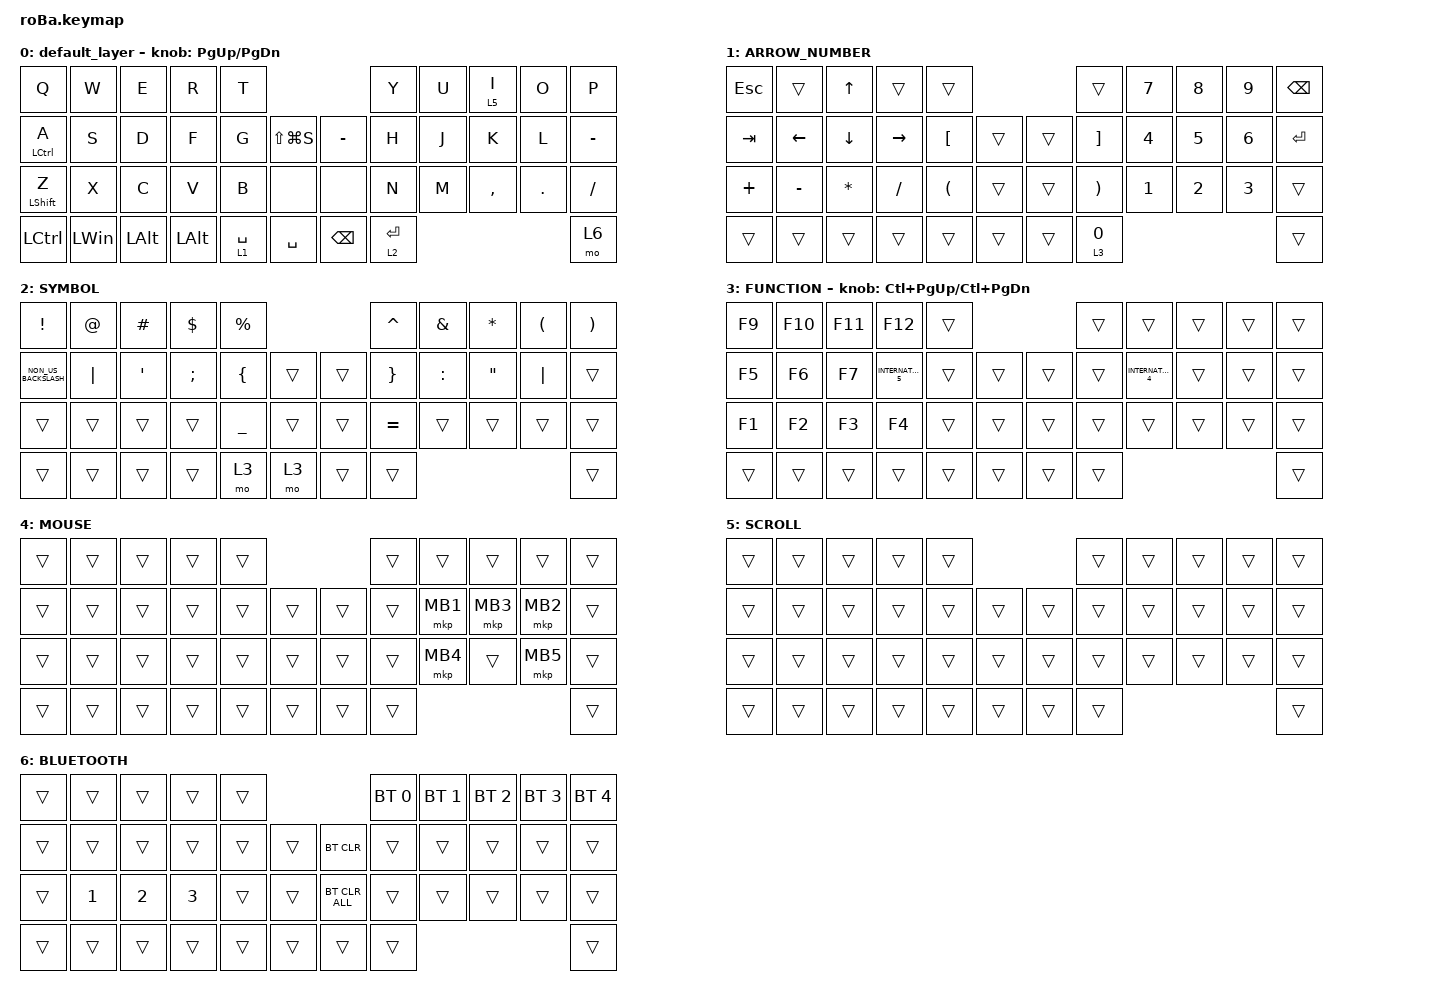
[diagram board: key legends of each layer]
#include <behaviors.dtsi>
#include <dt-bindings/zmk/bt.h>
#include <dt-bindings/zmk/keys.h>
#include <dt-bindings/zmk/pointing.h>

#define MOUSE 4
#define SCROLL 5
#define NUM 6

&mt {
    flavor = "balanced";
    quick-tap-ms = <0>;
};

/ {
    combos { compatible = "zmk,combos"; };

    macros {
        to_layer_0: to_layer_0 {
            compatible = "zmk,behavior-macro-one-param";
            #binding-cells = <1>;
            bindings = <&to 0 &macro_param_1to1 &kp MACRO_PLACEHOLDER>;
            label = "TO_LAYER_0";
        };
    };

    behaviors {
        lt_to_layer_0: lt_to_layer_0 {
            compatible = "zmk,behavior-hold-tap";
            label = "LAYER_TAP_TO_0";
            bindings = <&mo>, <&to_layer_0>;

            #binding-cells = <2>;
            tapping-term-ms = <200>;
        };
    };

    keymap {
        compatible = "zmk,keymap";

        default_layer {
            bindings = <
&kp Q             &kp W         &kp E         &kp R         &kp T                                          &kp Y        &kp U  &lt 5 I    &kp O    &kp P
&mt LCTRL A       &kp S         &kp D         &kp F         &kp G        &kp LS(LG(S))      &kp MINUS      &kp H        &kp J  &kp K      &kp L    &kp MINUS
&mt LEFT_SHIFT Z  &kp X         &kp C         &kp V         &kp B        &none              &none          &kp N        &kp M  &kp COMMA  &kp DOT  &kp SLASH
&kp LCTRL         &kp LEFT_WIN  &kp LEFT_ALT  &kp LEFT_ALT  &lt 1 SPACE  &kp SPACE          &kp BACKSPACE  &lt 2 ENTER                             &mo 6
            >;

            sensor-bindings = <&inc_dec_kp PG_UP PAGE_DOWN>;
        };

        ARROW_NUMBER {
            bindings = <
&kp ESCAPE  &trans     &kp UP_ARROW  &trans     &trans                                    &trans                 &kp NUMBER_7  &kp NUMBER_8  &kp NUMBER_9  &kp BACKSPACE
&kp TAB     &kp LEFT   &kp DOWN      &kp RIGHT  &kp LEFT_BRACKET      &trans      &trans  &kp RIGHT_BRACKET      &kp NUMBER_4  &kp NUMBER_5  &kp NUMBER_6  &kp ENTER
&kp PLUS    &kp MINUS  &kp ASTERISK  &kp SLASH  &kp LEFT_PARENTHESIS  &trans      &trans  &kp RIGHT_PARENTHESIS  &kp NUMBER_1  &kp NUMBER_2  &kp NUMBER_3  &trans
&trans      &trans     &trans        &trans     &trans                &trans      &trans  &lt 3 NUMBER_0                                                   &trans
            >;
        };

        SYMBOL {
            bindings = <
&kp EXCLAMATION       &kp AT_SIGN  &kp HASH  &kp DOLLAR     &kp PERCENT                         &kp CARET        &kp AMPERSAND  &kp ASTERISK       &kp LEFT_PARENTHESIS  &kp RIGHT_PARENTHESIS
&kp NON_US_BACKSLASH  &kp PIPE     &kp SQT   &kp SEMICOLON  &kp LEFT_BRACE  &trans      &trans  &kp RIGHT_BRACE  &kp COLON      &kp DOUBLE_QUOTES  &kp PIPE              &trans
&trans                &trans       &trans    &trans         &kp UNDERSCORE  &trans      &trans  &kp EQUAL        &trans         &trans             &trans                &trans
&trans                &trans       &trans    &trans         &mo 3           &mo 3       &trans  &trans                                                                   &trans
            >;
        };

        FUNCTION {
            bindings = <
&kp F9  &kp F10  &kp F11  &kp F12              &trans                      &trans  &trans               &trans  &trans  &trans
&kp F5  &kp F6   &kp F7   &kp INTERNATIONAL_5  &trans  &trans      &trans  &trans  &kp INTERNATIONAL_4  &trans  &trans  &trans
&kp F1  &kp F2   &kp F3   &kp F4               &trans  &trans      &trans  &trans  &trans               &trans  &trans  &trans
&trans  &trans   &trans   &trans               &trans  &trans      &trans  &trans                                       &trans
            >;

            sensor-bindings = <&inc_dec_kp LC(PAGE_UP) LC(PAGE_DOWN)>;
        };

        MOUSE {
            bindings = <
&trans  &trans  &trans  &trans  &trans                      &trans  &trans    &trans    &trans    &trans
&trans  &trans  &trans  &trans  &trans  &trans      &trans  &trans  &mkp MB1  &mkp MB3  &mkp MB2  &trans
&trans  &trans  &trans  &trans  &trans  &trans      &trans  &trans  &mkp MB4  &trans    &mkp MB5  &trans
&trans  &trans  &trans  &trans  &trans  &trans      &trans  &trans                                &trans
            >;
        };

        SCROLL {
            bindings = <
&trans  &trans  &trans  &trans  &trans                      &trans  &trans  &trans  &trans  &trans
&trans  &trans  &trans  &trans  &trans  &trans      &trans  &trans  &trans  &trans  &trans  &trans
&trans  &trans  &trans  &trans  &trans  &trans      &trans  &trans  &trans  &trans  &trans  &trans
&trans  &trans  &trans  &trans  &trans  &trans      &trans  &trans                          &trans
            >;
        };

        BLUETOOTH {
            bindings = <
&trans  &trans        &trans        &trans        &trans                              &bt BT_SEL 0  &bt BT_SEL 1  &bt BT_SEL 2  &bt BT_SEL 3  &bt BT_SEL 4
&trans  &trans        &trans        &trans        &trans  &trans      &bt BT_CLR      &trans        &trans        &trans        &trans        &trans
&trans  &kp NUMBER_1  &kp NUMBER_2  &kp NUMBER_3  &trans  &trans      &bt BT_CLR_ALL  &trans        &trans        &trans        &trans        &trans
&trans  &trans        &trans        &trans        &trans  &trans      &trans          &trans                                                  &trans
            >;
        };
    };
};
